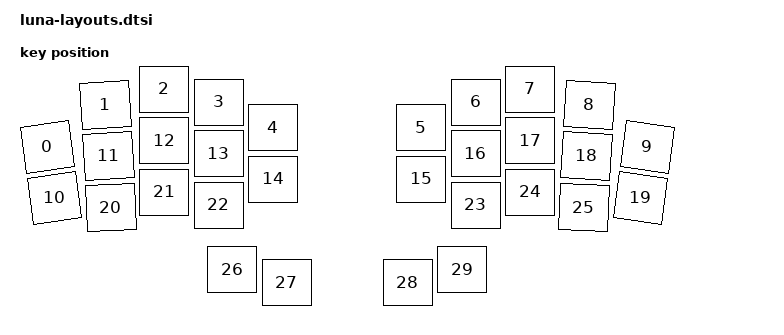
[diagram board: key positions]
#include <physical_layouts.dtsi>

/ {
    luna_physical_layout: luna_physical_layout {
        compatible = "zmk,physical-layout";
        display-name = "Default";

        transform = <&default_transform>;

        keys  //                     w   h    x    y     rot    rx    ry
            = <&key_physical_attrs 106 100    0  116  (-800)    53   166>
            , <&key_physical_attrs 106 100  116   32  (-300)   169    82>
            , <&key_physical_attrs 106 100  234    0       0     0     0>
            , <&key_physical_attrs 106 100  343   26       0     0     0>
            , <&key_physical_attrs 106 100  452   77       0     0     0>
            , <&key_physical_attrs 106 100  748   77       0     0     0>
            , <&key_physical_attrs 106 100  857   26       0     0     0>
            , <&key_physical_attrs 106 100  966    0       0     0     0>
            , <&key_physical_attrs 106 100 1084   32     300  1137    82>
            , <&key_physical_attrs 106 100 1200  116     800  1253   166>
            , <&key_physical_attrs 106 100   14  218  (-800)    67   268>
            , <&key_physical_attrs 106 100  122  134  (-300)   174   184>
            , <&key_physical_attrs 106 100  234  103       0     0     0>
            , <&key_physical_attrs 106 100  343  129       0     0     0>
            , <&key_physical_attrs 106 100  452  180       0     0     0>
            , <&key_physical_attrs 106 100  748  180       0     0     0>
            , <&key_physical_attrs 106 100  857  129       0     0     0>
            , <&key_physical_attrs 106 100  966  103       0     0     0>
            , <&key_physical_attrs 106 100 1078  134     300  1132   184>
            , <&key_physical_attrs 106 100 1186  218     800  1239   268>
            , <&key_physical_attrs 106 100  127  237  (-300)   180   287>
            , <&key_physical_attrs 106 100  234  206       0     0     0>
            , <&key_physical_attrs 106 100  343  232       0     0     0>
            , <&key_physical_attrs 106 100  857  232       0     0     0>
            , <&key_physical_attrs 106 100  966  206       0     0     0>
            , <&key_physical_attrs 106 100 1073  237     300  1126   287>
            , <&key_physical_attrs 106 100  370  361       0     0     0>
            , <&key_physical_attrs 106 100  479  387       0     0     0>
            , <&key_physical_attrs 106 100  721  387       0     0     0>
            , <&key_physical_attrs 106 100  830  361       0     0     0>
            ;
    };
};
